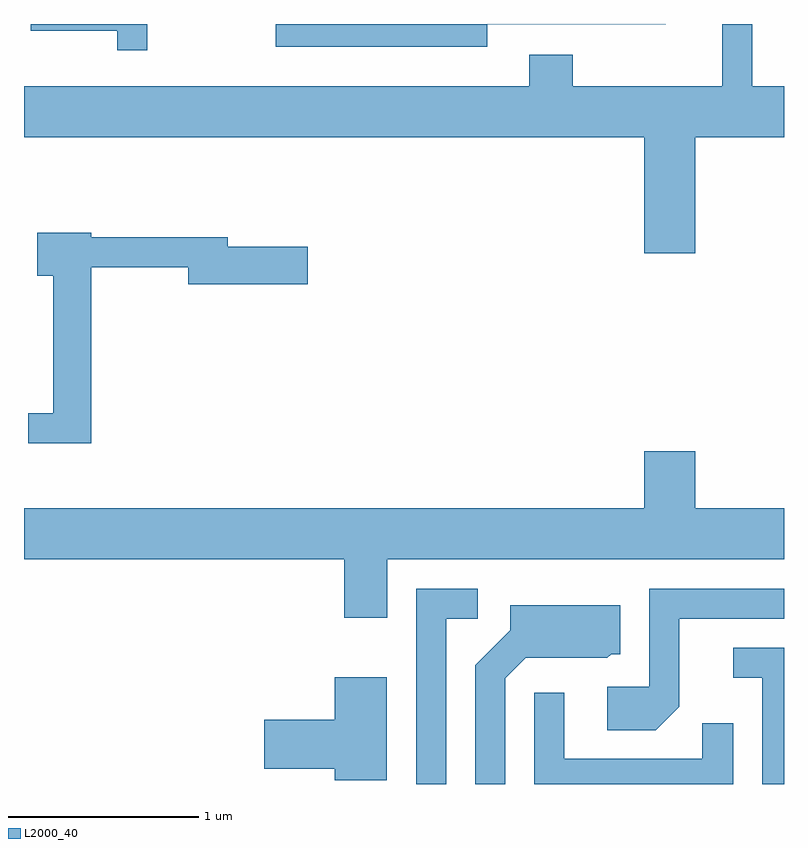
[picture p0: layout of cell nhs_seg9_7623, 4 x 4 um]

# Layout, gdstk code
import gdstk
lib = gdstk.Library(unit=1e-6, precision=1e-09)
def P(c, l, *ps):  # polygons
    for p in ps: c.add(gdstk.Polygon(p, *l))
L2000_40 = (2000, 40)

nhs_seg9_7623 = lib.new_cell('nhs_seg9_7623')
P(nhs_seg9_7623, L2000_40, [(415.144,1971.836),(415.611,1971.836),(415.611,1972.104),(415.444,1972.104),(415.444,1972.432),(415.286,1972.432),(415.286,1972.104),(414.499,1972.104),(414.499,1972.269),(414.271,1972.269),(414.271,1972.104),(411.611,1972.104),(411.611,1971.836),(414.876,1971.836),(414.876,1971.226),(415.144,1971.226)],
  [(412.259,1972.432),(411.646,1972.432),(411.646,1972.396),(412.101,1972.396),(412.101,1972.293),(412.259,1972.293)],
  [(414.049,1972.431),(414.989,1972.431),(414.989,1972.432),(412.936,1972.432),(412.936,1972.311),(414.049,1972.311)],
  [(411.964,1971.151),(412.476,1971.151),(412.476,1971.061),(413.104,1971.061),(413.104,1971.259),(412.684,1971.259),(412.684,1971.309),(411.964,1971.309),(411.964,1971.334),(411.681,1971.334),(411.681,1971.106),(411.766,1971.106),(411.766,1970.384),(411.633,1970.384),(411.633,1970.226),(411.964,1970.226)],
  [(413.524,1969.616),(415.611,1969.616),(415.611,1969.884),(415.144,1969.884),(415.144,1970.184),(414.876,1970.184),(414.876,1969.884),(411.611,1969.884),(411.611,1969.616),(413.296,1969.616),(413.296,1969.306),(413.524,1969.306)],
  [(413.834,1969.301),(413.998,1969.301),(413.998,1969.459),(413.676,1969.459),(413.676,1968.432),(413.834,1968.432)],
  [(415.059,1968.839),(415.059,1969.301),(415.611,1969.301),(415.611,1969.459),(414.901,1969.459),(414.901,1968.944),(414.681,1968.944),(414.681,1968.716),(414.937,1968.716)],
  [(414.144,1968.989),(414.252,1969.096),(414.682,1969.096),(414.702,1969.116),(414.749,1969.116),(414.749,1969.374),(414.171,1969.374),(414.171,1969.242),(413.986,1969.057),(413.986,1968.432),(414.144,1968.432)],
  [(415.611,1969.149),(415.343,1969.149),(415.343,1968.991),(415.496,1968.991),(415.496,1968.432),(415.611,1968.432)],
  [(413.519,1968.994),(413.246,1968.994),(413.246,1968.769),(412.876,1968.769),(412.876,1968.511),(413.246,1968.511),(413.246,1968.451),(413.519,1968.451)],
  [(415.344,1968.753),(415.181,1968.753),(415.181,1968.564),(414.454,1968.564),(414.454,1968.913),(414.296,1968.913),(414.296,1968.432),(415.344,1968.432)])

lib.write_gds('nhs_seg9_7623.gds')
